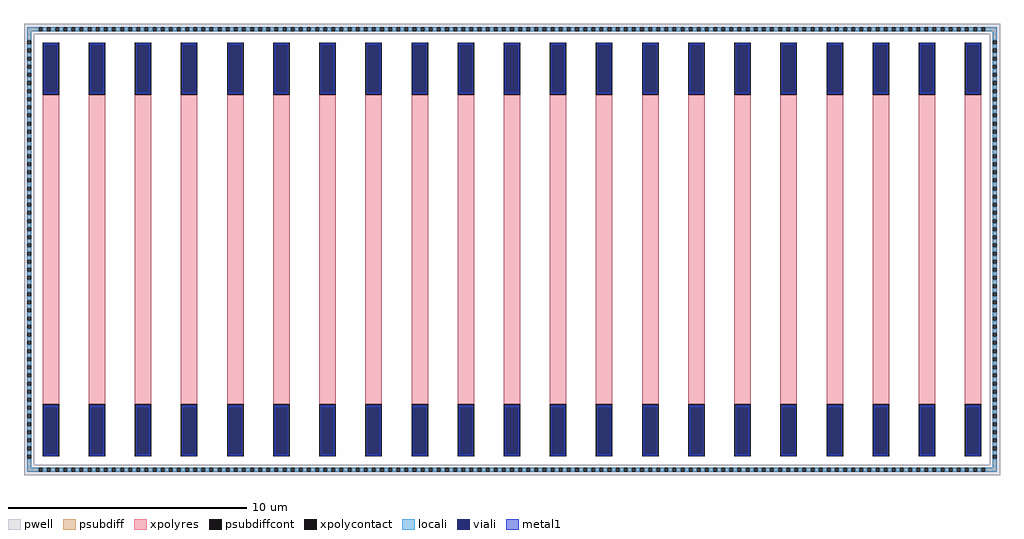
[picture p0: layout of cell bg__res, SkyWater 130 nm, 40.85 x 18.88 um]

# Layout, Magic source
magic
tech sky130A
magscale 1 2
<< pwell >>
rect -4085 1802 4085 1888
rect -4085 -1802 -3999 1802
rect 3999 -1802 4085 1802
rect -4085 -1888 4085 -1802
<< psubdiff >>
rect -4059 1828 -3961 1862
rect -3927 1828 -3893 1862
rect -3859 1828 -3825 1862
rect -3791 1828 -3757 1862
rect -3723 1828 -3689 1862
rect -3655 1828 -3621 1862
rect -3587 1828 -3553 1862
rect -3519 1828 -3485 1862
rect -3451 1828 -3417 1862
rect -3383 1828 -3349 1862
rect -3315 1828 -3281 1862
rect -3247 1828 -3213 1862
rect -3179 1828 -3145 1862
rect -3111 1828 -3077 1862
rect -3043 1828 -3009 1862
rect -2975 1828 -2941 1862
rect -2907 1828 -2873 1862
rect -2839 1828 -2805 1862
rect -2771 1828 -2737 1862
rect -2703 1828 -2669 1862
rect -2635 1828 -2601 1862
rect -2567 1828 -2533 1862
rect -2499 1828 -2465 1862
rect -2431 1828 -2397 1862
rect -2363 1828 -2329 1862
rect -2295 1828 -2261 1862
rect -2227 1828 -2193 1862
rect -2159 1828 -2125 1862
rect -2091 1828 -2057 1862
rect -2023 1828 -1989 1862
rect -1955 1828 -1921 1862
rect -1887 1828 -1853 1862
rect -1819 1828 -1785 1862
rect -1751 1828 -1717 1862
rect -1683 1828 -1649 1862
rect -1615 1828 -1581 1862
rect -1547 1828 -1513 1862
rect -1479 1828 -1445 1862
rect -1411 1828 -1377 1862
rect -1343 1828 -1309 1862
rect -1275 1828 -1241 1862
rect -1207 1828 -1173 1862
rect -1139 1828 -1105 1862
rect -1071 1828 -1037 1862
rect -1003 1828 -969 1862
rect -935 1828 -901 1862
rect -867 1828 -833 1862
rect -799 1828 -765 1862
rect -731 1828 -697 1862
rect -663 1828 -629 1862
rect -595 1828 -561 1862
rect -527 1828 -493 1862
rect -459 1828 -425 1862
rect -391 1828 -357 1862
rect -323 1828 -289 1862
rect -255 1828 -221 1862
rect -187 1828 -153 1862
rect -119 1828 -85 1862
rect -51 1828 -17 1862
rect 17 1828 51 1862
rect 85 1828 119 1862
rect 153 1828 187 1862
rect 221 1828 255 1862
rect 289 1828 323 1862
rect 357 1828 391 1862
rect 425 1828 459 1862
rect 493 1828 527 1862
rect 561 1828 595 1862
rect 629 1828 663 1862
rect 697 1828 731 1862
rect 765 1828 799 1862
rect 833 1828 867 1862
rect 901 1828 935 1862
rect 969 1828 1003 1862
rect 1037 1828 1071 1862
rect 1105 1828 1139 1862
rect 1173 1828 1207 1862
rect 1241 1828 1275 1862
rect 1309 1828 1343 1862
rect 1377 1828 1411 1862
rect 1445 1828 1479 1862
rect 1513 1828 1547 1862
rect 1581 1828 1615 1862
rect 1649 1828 1683 1862
rect 1717 1828 1751 1862
rect 1785 1828 1819 1862
rect 1853 1828 1887 1862
rect 1921 1828 1955 1862
rect 1989 1828 2023 1862
rect 2057 1828 2091 1862
rect 2125 1828 2159 1862
rect 2193 1828 2227 1862
rect 2261 1828 2295 1862
rect 2329 1828 2363 1862
rect 2397 1828 2431 1862
rect 2465 1828 2499 1862
rect 2533 1828 2567 1862
rect 2601 1828 2635 1862
rect 2669 1828 2703 1862
rect 2737 1828 2771 1862
rect 2805 1828 2839 1862
rect 2873 1828 2907 1862
rect 2941 1828 2975 1862
rect 3009 1828 3043 1862
rect 3077 1828 3111 1862
rect 3145 1828 3179 1862
rect 3213 1828 3247 1862
rect 3281 1828 3315 1862
rect 3349 1828 3383 1862
rect 3417 1828 3451 1862
rect 3485 1828 3519 1862
rect 3553 1828 3587 1862
rect 3621 1828 3655 1862
rect 3689 1828 3723 1862
rect 3757 1828 3791 1862
rect 3825 1828 3859 1862
rect 3893 1828 3927 1862
rect 3961 1828 4059 1862
rect -4059 1751 -4025 1828
rect 4025 1751 4059 1828
rect -4059 1683 -4025 1717
rect -4059 1615 -4025 1649
rect -4059 1547 -4025 1581
rect -4059 1479 -4025 1513
rect -4059 1411 -4025 1445
rect -4059 1343 -4025 1377
rect -4059 1275 -4025 1309
rect -4059 1207 -4025 1241
rect -4059 1139 -4025 1173
rect -4059 1071 -4025 1105
rect -4059 1003 -4025 1037
rect -4059 935 -4025 969
rect -4059 867 -4025 901
rect -4059 799 -4025 833
rect -4059 731 -4025 765
rect -4059 663 -4025 697
rect -4059 595 -4025 629
rect -4059 527 -4025 561
rect -4059 459 -4025 493
rect -4059 391 -4025 425
rect -4059 323 -4025 357
rect -4059 255 -4025 289
rect -4059 187 -4025 221
rect -4059 119 -4025 153
rect -4059 51 -4025 85
rect -4059 -17 -4025 17
rect -4059 -85 -4025 -51
rect -4059 -153 -4025 -119
rect -4059 -221 -4025 -187
rect -4059 -289 -4025 -255
rect -4059 -357 -4025 -323
rect -4059 -425 -4025 -391
rect -4059 -493 -4025 -459
rect -4059 -561 -4025 -527
rect -4059 -629 -4025 -595
rect -4059 -697 -4025 -663
rect -4059 -765 -4025 -731
rect -4059 -833 -4025 -799
rect -4059 -901 -4025 -867
rect -4059 -969 -4025 -935
rect -4059 -1037 -4025 -1003
rect -4059 -1105 -4025 -1071
rect -4059 -1173 -4025 -1139
rect -4059 -1241 -4025 -1207
rect -4059 -1309 -4025 -1275
rect -4059 -1377 -4025 -1343
rect -4059 -1445 -4025 -1411
rect -4059 -1513 -4025 -1479
rect -4059 -1581 -4025 -1547
rect -4059 -1649 -4025 -1615
rect -4059 -1717 -4025 -1683
rect 4025 1683 4059 1717
rect 4025 1615 4059 1649
rect 4025 1547 4059 1581
rect 4025 1479 4059 1513
rect 4025 1411 4059 1445
rect 4025 1343 4059 1377
rect 4025 1275 4059 1309
rect 4025 1207 4059 1241
rect 4025 1139 4059 1173
rect 4025 1071 4059 1105
rect 4025 1003 4059 1037
rect 4025 935 4059 969
rect 4025 867 4059 901
rect 4025 799 4059 833
rect 4025 731 4059 765
rect 4025 663 4059 697
rect 4025 595 4059 629
rect 4025 527 4059 561
rect 4025 459 4059 493
rect 4025 391 4059 425
rect 4025 323 4059 357
rect 4025 255 4059 289
rect 4025 187 4059 221
rect 4025 119 4059 153
rect 4025 51 4059 85
rect 4025 -17 4059 17
rect 4025 -85 4059 -51
rect 4025 -153 4059 -119
rect 4025 -221 4059 -187
rect 4025 -289 4059 -255
rect 4025 -357 4059 -323
rect 4025 -425 4059 -391
rect 4025 -493 4059 -459
rect 4025 -561 4059 -527
rect 4025 -629 4059 -595
rect 4025 -697 4059 -663
rect 4025 -765 4059 -731
rect 4025 -833 4059 -799
rect 4025 -901 4059 -867
rect 4025 -969 4059 -935
rect 4025 -1037 4059 -1003
rect 4025 -1105 4059 -1071
rect 4025 -1173 4059 -1139
rect 4025 -1241 4059 -1207
rect 4025 -1309 4059 -1275
rect 4025 -1377 4059 -1343
rect 4025 -1445 4059 -1411
rect 4025 -1513 4059 -1479
rect 4025 -1581 4059 -1547
rect 4025 -1649 4059 -1615
rect 4025 -1717 4059 -1683
rect -4059 -1828 -4025 -1751
rect 4025 -1828 4059 -1751
rect -4059 -1862 -3961 -1828
rect -3927 -1862 -3893 -1828
rect -3859 -1862 -3825 -1828
rect -3791 -1862 -3757 -1828
rect -3723 -1862 -3689 -1828
rect -3655 -1862 -3621 -1828
rect -3587 -1862 -3553 -1828
rect -3519 -1862 -3485 -1828
rect -3451 -1862 -3417 -1828
rect -3383 -1862 -3349 -1828
rect -3315 -1862 -3281 -1828
rect -3247 -1862 -3213 -1828
rect -3179 -1862 -3145 -1828
rect -3111 -1862 -3077 -1828
rect -3043 -1862 -3009 -1828
rect -2975 -1862 -2941 -1828
rect -2907 -1862 -2873 -1828
rect -2839 -1862 -2805 -1828
rect -2771 -1862 -2737 -1828
rect -2703 -1862 -2669 -1828
rect -2635 -1862 -2601 -1828
rect -2567 -1862 -2533 -1828
rect -2499 -1862 -2465 -1828
rect -2431 -1862 -2397 -1828
rect -2363 -1862 -2329 -1828
rect -2295 -1862 -2261 -1828
rect -2227 -1862 -2193 -1828
rect -2159 -1862 -2125 -1828
rect -2091 -1862 -2057 -1828
rect -2023 -1862 -1989 -1828
rect -1955 -1862 -1921 -1828
rect -1887 -1862 -1853 -1828
rect -1819 -1862 -1785 -1828
rect -1751 -1862 -1717 -1828
rect -1683 -1862 -1649 -1828
rect -1615 -1862 -1581 -1828
rect -1547 -1862 -1513 -1828
rect -1479 -1862 -1445 -1828
rect -1411 -1862 -1377 -1828
rect -1343 -1862 -1309 -1828
rect -1275 -1862 -1241 -1828
rect -1207 -1862 -1173 -1828
rect -1139 -1862 -1105 -1828
rect -1071 -1862 -1037 -1828
rect -1003 -1862 -969 -1828
rect -935 -1862 -901 -1828
rect -867 -1862 -833 -1828
rect -799 -1862 -765 -1828
rect -731 -1862 -697 -1828
rect -663 -1862 -629 -1828
rect -595 -1862 -561 -1828
rect -527 -1862 -493 -1828
rect -459 -1862 -425 -1828
rect -391 -1862 -357 -1828
rect -323 -1862 -289 -1828
rect -255 -1862 -221 -1828
rect -187 -1862 -153 -1828
rect -119 -1862 -85 -1828
rect -51 -1862 -17 -1828
rect 17 -1862 51 -1828
rect 85 -1862 119 -1828
rect 153 -1862 187 -1828
rect 221 -1862 255 -1828
rect 289 -1862 323 -1828
rect 357 -1862 391 -1828
rect 425 -1862 459 -1828
rect 493 -1862 527 -1828
rect 561 -1862 595 -1828
rect 629 -1862 663 -1828
rect 697 -1862 731 -1828
rect 765 -1862 799 -1828
rect 833 -1862 867 -1828
rect 901 -1862 935 -1828
rect 969 -1862 1003 -1828
rect 1037 -1862 1071 -1828
rect 1105 -1862 1139 -1828
rect 1173 -1862 1207 -1828
rect 1241 -1862 1275 -1828
rect 1309 -1862 1343 -1828
rect 1377 -1862 1411 -1828
rect 1445 -1862 1479 -1828
rect 1513 -1862 1547 -1828
rect 1581 -1862 1615 -1828
rect 1649 -1862 1683 -1828
rect 1717 -1862 1751 -1828
rect 1785 -1862 1819 -1828
rect 1853 -1862 1887 -1828
rect 1921 -1862 1955 -1828
rect 1989 -1862 2023 -1828
rect 2057 -1862 2091 -1828
rect 2125 -1862 2159 -1828
rect 2193 -1862 2227 -1828
rect 2261 -1862 2295 -1828
rect 2329 -1862 2363 -1828
rect 2397 -1862 2431 -1828
rect 2465 -1862 2499 -1828
rect 2533 -1862 2567 -1828
rect 2601 -1862 2635 -1828
rect 2669 -1862 2703 -1828
rect 2737 -1862 2771 -1828
rect 2805 -1862 2839 -1828
rect 2873 -1862 2907 -1828
rect 2941 -1862 2975 -1828
rect 3009 -1862 3043 -1828
rect 3077 -1862 3111 -1828
rect 3145 -1862 3179 -1828
rect 3213 -1862 3247 -1828
rect 3281 -1862 3315 -1828
rect 3349 -1862 3383 -1828
rect 3417 -1862 3451 -1828
rect 3485 -1862 3519 -1828
rect 3553 -1862 3587 -1828
rect 3621 -1862 3655 -1828
rect 3689 -1862 3723 -1828
rect 3757 -1862 3791 -1828
rect 3825 -1862 3859 -1828
rect 3893 -1862 3927 -1828
rect 3961 -1862 4059 -1828
<< psubdiffcont >>
rect -3961 1828 -3927 1862
rect -3893 1828 -3859 1862
rect -3825 1828 -3791 1862
rect -3757 1828 -3723 1862
rect -3689 1828 -3655 1862
rect -3621 1828 -3587 1862
rect -3553 1828 -3519 1862
rect -3485 1828 -3451 1862
rect -3417 1828 -3383 1862
rect -3349 1828 -3315 1862
rect -3281 1828 -3247 1862
rect -3213 1828 -3179 1862
rect -3145 1828 -3111 1862
rect -3077 1828 -3043 1862
rect -3009 1828 -2975 1862
rect -2941 1828 -2907 1862
rect -2873 1828 -2839 1862
rect -2805 1828 -2771 1862
rect -2737 1828 -2703 1862
rect -2669 1828 -2635 1862
rect -2601 1828 -2567 1862
rect -2533 1828 -2499 1862
rect -2465 1828 -2431 1862
rect -2397 1828 -2363 1862
rect -2329 1828 -2295 1862
rect -2261 1828 -2227 1862
rect -2193 1828 -2159 1862
rect -2125 1828 -2091 1862
rect -2057 1828 -2023 1862
rect -1989 1828 -1955 1862
rect -1921 1828 -1887 1862
rect -1853 1828 -1819 1862
rect -1785 1828 -1751 1862
rect -1717 1828 -1683 1862
rect -1649 1828 -1615 1862
rect -1581 1828 -1547 1862
rect -1513 1828 -1479 1862
rect -1445 1828 -1411 1862
rect -1377 1828 -1343 1862
rect -1309 1828 -1275 1862
rect -1241 1828 -1207 1862
rect -1173 1828 -1139 1862
rect -1105 1828 -1071 1862
rect -1037 1828 -1003 1862
rect -969 1828 -935 1862
rect -901 1828 -867 1862
rect -833 1828 -799 1862
rect -765 1828 -731 1862
rect -697 1828 -663 1862
rect -629 1828 -595 1862
rect -561 1828 -527 1862
rect -493 1828 -459 1862
rect -425 1828 -391 1862
rect -357 1828 -323 1862
rect -289 1828 -255 1862
rect -221 1828 -187 1862
rect -153 1828 -119 1862
rect -85 1828 -51 1862
rect -17 1828 17 1862
rect 51 1828 85 1862
rect 119 1828 153 1862
rect 187 1828 221 1862
rect 255 1828 289 1862
rect 323 1828 357 1862
rect 391 1828 425 1862
rect 459 1828 493 1862
rect 527 1828 561 1862
rect 595 1828 629 1862
rect 663 1828 697 1862
rect 731 1828 765 1862
rect 799 1828 833 1862
rect 867 1828 901 1862
rect 935 1828 969 1862
rect 1003 1828 1037 1862
rect 1071 1828 1105 1862
rect 1139 1828 1173 1862
rect 1207 1828 1241 1862
rect 1275 1828 1309 1862
rect 1343 1828 1377 1862
rect 1411 1828 1445 1862
rect 1479 1828 1513 1862
rect 1547 1828 1581 1862
rect 1615 1828 1649 1862
rect 1683 1828 1717 1862
rect 1751 1828 1785 1862
rect 1819 1828 1853 1862
rect 1887 1828 1921 1862
rect 1955 1828 1989 1862
rect 2023 1828 2057 1862
rect 2091 1828 2125 1862
rect 2159 1828 2193 1862
rect 2227 1828 2261 1862
rect 2295 1828 2329 1862
rect 2363 1828 2397 1862
rect 2431 1828 2465 1862
rect 2499 1828 2533 1862
rect 2567 1828 2601 1862
rect 2635 1828 2669 1862
rect 2703 1828 2737 1862
rect 2771 1828 2805 1862
rect 2839 1828 2873 1862
rect 2907 1828 2941 1862
rect 2975 1828 3009 1862
rect 3043 1828 3077 1862
rect 3111 1828 3145 1862
rect 3179 1828 3213 1862
rect 3247 1828 3281 1862
rect 3315 1828 3349 1862
rect 3383 1828 3417 1862
rect 3451 1828 3485 1862
rect 3519 1828 3553 1862
rect 3587 1828 3621 1862
rect 3655 1828 3689 1862
rect 3723 1828 3757 1862
rect 3791 1828 3825 1862
rect 3859 1828 3893 1862
rect 3927 1828 3961 1862
rect -4059 1717 -4025 1751
rect -4059 1649 -4025 1683
rect -4059 1581 -4025 1615
rect -4059 1513 -4025 1547
rect -4059 1445 -4025 1479
rect -4059 1377 -4025 1411
rect -4059 1309 -4025 1343
rect -4059 1241 -4025 1275
rect -4059 1173 -4025 1207
rect -4059 1105 -4025 1139
rect -4059 1037 -4025 1071
rect -4059 969 -4025 1003
rect -4059 901 -4025 935
rect -4059 833 -4025 867
rect -4059 765 -4025 799
rect -4059 697 -4025 731
rect -4059 629 -4025 663
rect -4059 561 -4025 595
rect -4059 493 -4025 527
rect -4059 425 -4025 459
rect -4059 357 -4025 391
rect -4059 289 -4025 323
rect -4059 221 -4025 255
rect -4059 153 -4025 187
rect -4059 85 -4025 119
rect -4059 17 -4025 51
rect -4059 -51 -4025 -17
rect -4059 -119 -4025 -85
rect -4059 -187 -4025 -153
rect -4059 -255 -4025 -221
rect -4059 -323 -4025 -289
rect -4059 -391 -4025 -357
rect -4059 -459 -4025 -425
rect -4059 -527 -4025 -493
rect -4059 -595 -4025 -561
rect -4059 -663 -4025 -629
rect -4059 -731 -4025 -697
rect -4059 -799 -4025 -765
rect -4059 -867 -4025 -833
rect -4059 -935 -4025 -901
rect -4059 -1003 -4025 -969
rect -4059 -1071 -4025 -1037
rect -4059 -1139 -4025 -1105
rect -4059 -1207 -4025 -1173
rect -4059 -1275 -4025 -1241
rect -4059 -1343 -4025 -1309
rect -4059 -1411 -4025 -1377
rect -4059 -1479 -4025 -1445
rect -4059 -1547 -4025 -1513
rect -4059 -1615 -4025 -1581
rect -4059 -1683 -4025 -1649
rect -4059 -1751 -4025 -1717
rect 4025 1717 4059 1751
rect 4025 1649 4059 1683
rect 4025 1581 4059 1615
rect 4025 1513 4059 1547
rect 4025 1445 4059 1479
rect 4025 1377 4059 1411
rect 4025 1309 4059 1343
rect 4025 1241 4059 1275
rect 4025 1173 4059 1207
rect 4025 1105 4059 1139
rect 4025 1037 4059 1071
rect 4025 969 4059 1003
rect 4025 901 4059 935
rect 4025 833 4059 867
rect 4025 765 4059 799
rect 4025 697 4059 731
rect 4025 629 4059 663
rect 4025 561 4059 595
rect 4025 493 4059 527
rect 4025 425 4059 459
rect 4025 357 4059 391
rect 4025 289 4059 323
rect 4025 221 4059 255
rect 4025 153 4059 187
rect 4025 85 4059 119
rect 4025 17 4059 51
rect 4025 -51 4059 -17
rect 4025 -119 4059 -85
rect 4025 -187 4059 -153
rect 4025 -255 4059 -221
rect 4025 -323 4059 -289
rect 4025 -391 4059 -357
rect 4025 -459 4059 -425
rect 4025 -527 4059 -493
rect 4025 -595 4059 -561
rect 4025 -663 4059 -629
rect 4025 -731 4059 -697
rect 4025 -799 4059 -765
rect 4025 -867 4059 -833
rect 4025 -935 4059 -901
rect 4025 -1003 4059 -969
rect 4025 -1071 4059 -1037
rect 4025 -1139 4059 -1105
rect 4025 -1207 4059 -1173
rect 4025 -1275 4059 -1241
rect 4025 -1343 4059 -1309
rect 4025 -1411 4059 -1377
rect 4025 -1479 4059 -1445
rect 4025 -1547 4059 -1513
rect 4025 -1615 4059 -1581
rect 4025 -1683 4059 -1649
rect 4025 -1751 4059 -1717
rect -3961 -1862 -3927 -1828
rect -3893 -1862 -3859 -1828
rect -3825 -1862 -3791 -1828
rect -3757 -1862 -3723 -1828
rect -3689 -1862 -3655 -1828
rect -3621 -1862 -3587 -1828
rect -3553 -1862 -3519 -1828
rect -3485 -1862 -3451 -1828
rect -3417 -1862 -3383 -1828
rect -3349 -1862 -3315 -1828
rect -3281 -1862 -3247 -1828
rect -3213 -1862 -3179 -1828
rect -3145 -1862 -3111 -1828
rect -3077 -1862 -3043 -1828
rect -3009 -1862 -2975 -1828
rect -2941 -1862 -2907 -1828
rect -2873 -1862 -2839 -1828
rect -2805 -1862 -2771 -1828
rect -2737 -1862 -2703 -1828
rect -2669 -1862 -2635 -1828
rect -2601 -1862 -2567 -1828
rect -2533 -1862 -2499 -1828
rect -2465 -1862 -2431 -1828
rect -2397 -1862 -2363 -1828
rect -2329 -1862 -2295 -1828
rect -2261 -1862 -2227 -1828
rect -2193 -1862 -2159 -1828
rect -2125 -1862 -2091 -1828
rect -2057 -1862 -2023 -1828
rect -1989 -1862 -1955 -1828
rect -1921 -1862 -1887 -1828
rect -1853 -1862 -1819 -1828
rect -1785 -1862 -1751 -1828
rect -1717 -1862 -1683 -1828
rect -1649 -1862 -1615 -1828
rect -1581 -1862 -1547 -1828
rect -1513 -1862 -1479 -1828
rect -1445 -1862 -1411 -1828
rect -1377 -1862 -1343 -1828
rect -1309 -1862 -1275 -1828
rect -1241 -1862 -1207 -1828
rect -1173 -1862 -1139 -1828
rect -1105 -1862 -1071 -1828
rect -1037 -1862 -1003 -1828
rect -969 -1862 -935 -1828
rect -901 -1862 -867 -1828
rect -833 -1862 -799 -1828
rect -765 -1862 -731 -1828
rect -697 -1862 -663 -1828
rect -629 -1862 -595 -1828
rect -561 -1862 -527 -1828
rect -493 -1862 -459 -1828
rect -425 -1862 -391 -1828
rect -357 -1862 -323 -1828
rect -289 -1862 -255 -1828
rect -221 -1862 -187 -1828
rect -153 -1862 -119 -1828
rect -85 -1862 -51 -1828
rect -17 -1862 17 -1828
rect 51 -1862 85 -1828
rect 119 -1862 153 -1828
rect 187 -1862 221 -1828
rect 255 -1862 289 -1828
rect 323 -1862 357 -1828
rect 391 -1862 425 -1828
rect 459 -1862 493 -1828
rect 527 -1862 561 -1828
rect 595 -1862 629 -1828
rect 663 -1862 697 -1828
rect 731 -1862 765 -1828
rect 799 -1862 833 -1828
rect 867 -1862 901 -1828
rect 935 -1862 969 -1828
rect 1003 -1862 1037 -1828
rect 1071 -1862 1105 -1828
rect 1139 -1862 1173 -1828
rect 1207 -1862 1241 -1828
rect 1275 -1862 1309 -1828
rect 1343 -1862 1377 -1828
rect 1411 -1862 1445 -1828
rect 1479 -1862 1513 -1828
rect 1547 -1862 1581 -1828
rect 1615 -1862 1649 -1828
rect 1683 -1862 1717 -1828
rect 1751 -1862 1785 -1828
rect 1819 -1862 1853 -1828
rect 1887 -1862 1921 -1828
rect 1955 -1862 1989 -1828
rect 2023 -1862 2057 -1828
rect 2091 -1862 2125 -1828
rect 2159 -1862 2193 -1828
rect 2227 -1862 2261 -1828
rect 2295 -1862 2329 -1828
rect 2363 -1862 2397 -1828
rect 2431 -1862 2465 -1828
rect 2499 -1862 2533 -1828
rect 2567 -1862 2601 -1828
rect 2635 -1862 2669 -1828
rect 2703 -1862 2737 -1828
rect 2771 -1862 2805 -1828
rect 2839 -1862 2873 -1828
rect 2907 -1862 2941 -1828
rect 2975 -1862 3009 -1828
rect 3043 -1862 3077 -1828
rect 3111 -1862 3145 -1828
rect 3179 -1862 3213 -1828
rect 3247 -1862 3281 -1828
rect 3315 -1862 3349 -1828
rect 3383 -1862 3417 -1828
rect 3451 -1862 3485 -1828
rect 3519 -1862 3553 -1828
rect 3587 -1862 3621 -1828
rect 3655 -1862 3689 -1828
rect 3723 -1862 3757 -1828
rect 3791 -1862 3825 -1828
rect 3859 -1862 3893 -1828
rect 3927 -1862 3961 -1828
<< xpolycontact >>
rect -3929 1296 -3791 1732
rect -3929 -1732 -3791 -1296
rect -3543 1296 -3405 1732
rect -3543 -1732 -3405 -1296
rect -3157 1296 -3019 1732
rect -3157 -1732 -3019 -1296
rect -2771 1296 -2633 1732
rect -2771 -1732 -2633 -1296
rect -2385 1296 -2247 1732
rect -2385 -1732 -2247 -1296
rect -1999 1296 -1861 1732
rect -1999 -1732 -1861 -1296
rect -1613 1296 -1475 1732
rect -1613 -1732 -1475 -1296
rect -1227 1296 -1089 1732
rect -1227 -1732 -1089 -1296
rect -841 1296 -703 1732
rect -841 -1732 -703 -1296
rect -455 1296 -317 1732
rect -455 -1732 -317 -1296
rect -69 1296 69 1732
rect -69 -1732 69 -1296
rect 317 1296 455 1732
rect 317 -1732 455 -1296
rect 703 1296 841 1732
rect 703 -1732 841 -1296
rect 1089 1296 1227 1732
rect 1089 -1732 1227 -1296
rect 1475 1296 1613 1732
rect 1475 -1732 1613 -1296
rect 1861 1296 1999 1732
rect 1861 -1732 1999 -1296
rect 2247 1296 2385 1732
rect 2247 -1732 2385 -1296
rect 2633 1296 2771 1732
rect 2633 -1732 2771 -1296
rect 3019 1296 3157 1732
rect 3019 -1732 3157 -1296
rect 3405 1296 3543 1732
rect 3405 -1732 3543 -1296
rect 3791 1296 3929 1732
rect 3791 -1732 3929 -1296
<< xpolyres >>
rect -3929 -1296 -3791 1296
rect -3543 -1296 -3405 1296
rect -3157 -1296 -3019 1296
rect -2771 -1296 -2633 1296
rect -2385 -1296 -2247 1296
rect -1999 -1296 -1861 1296
rect -1613 -1296 -1475 1296
rect -1227 -1296 -1089 1296
rect -841 -1296 -703 1296
rect -455 -1296 -317 1296
rect -69 -1296 69 1296
rect 317 -1296 455 1296
rect 703 -1296 841 1296
rect 1089 -1296 1227 1296
rect 1475 -1296 1613 1296
rect 1861 -1296 1999 1296
rect 2247 -1296 2385 1296
rect 2633 -1296 2771 1296
rect 3019 -1296 3157 1296
rect 3405 -1296 3543 1296
rect 3791 -1296 3929 1296
<< locali >>
rect -4059 1828 -3961 1862
rect -3927 1828 -3893 1862
rect -3859 1828 -3825 1862
rect -3791 1828 -3757 1862
rect -3723 1828 -3689 1862
rect -3655 1828 -3621 1862
rect -3587 1828 -3553 1862
rect -3519 1828 -3485 1862
rect -3451 1828 -3417 1862
rect -3383 1828 -3349 1862
rect -3315 1828 -3281 1862
rect -3247 1828 -3213 1862
rect -3179 1828 -3145 1862
rect -3111 1828 -3077 1862
rect -3043 1828 -3009 1862
rect -2975 1828 -2941 1862
rect -2907 1828 -2873 1862
rect -2839 1828 -2805 1862
rect -2771 1828 -2737 1862
rect -2703 1828 -2669 1862
rect -2635 1828 -2601 1862
rect -2567 1828 -2533 1862
rect -2499 1828 -2465 1862
rect -2431 1828 -2397 1862
rect -2363 1828 -2329 1862
rect -2295 1828 -2261 1862
rect -2227 1828 -2193 1862
rect -2159 1828 -2125 1862
rect -2091 1828 -2057 1862
rect -2023 1828 -1989 1862
rect -1955 1828 -1921 1862
rect -1887 1828 -1853 1862
rect -1819 1828 -1785 1862
rect -1751 1828 -1717 1862
rect -1683 1828 -1649 1862
rect -1615 1828 -1581 1862
rect -1547 1828 -1513 1862
rect -1479 1828 -1445 1862
rect -1411 1828 -1377 1862
rect -1343 1828 -1309 1862
rect -1275 1828 -1241 1862
rect -1207 1828 -1173 1862
rect -1139 1828 -1105 1862
rect -1071 1828 -1037 1862
rect -1003 1828 -969 1862
rect -935 1828 -901 1862
rect -867 1828 -833 1862
rect -799 1828 -765 1862
rect -731 1828 -697 1862
rect -663 1828 -629 1862
rect -595 1828 -561 1862
rect -527 1828 -493 1862
rect -459 1828 -425 1862
rect -391 1828 -357 1862
rect -323 1828 -289 1862
rect -255 1828 -221 1862
rect -187 1828 -153 1862
rect -119 1828 -85 1862
rect -51 1828 -17 1862
rect 17 1828 51 1862
rect 85 1828 119 1862
rect 153 1828 187 1862
rect 221 1828 255 1862
rect 289 1828 323 1862
rect 357 1828 391 1862
rect 425 1828 459 1862
rect 493 1828 527 1862
rect 561 1828 595 1862
rect 629 1828 663 1862
rect 697 1828 731 1862
rect 765 1828 799 1862
rect 833 1828 867 1862
rect 901 1828 935 1862
rect 969 1828 1003 1862
rect 1037 1828 1071 1862
rect 1105 1828 1139 1862
rect 1173 1828 1207 1862
rect 1241 1828 1275 1862
rect 1309 1828 1343 1862
rect 1377 1828 1411 1862
rect 1445 1828 1479 1862
rect 1513 1828 1547 1862
rect 1581 1828 1615 1862
rect 1649 1828 1683 1862
rect 1717 1828 1751 1862
rect 1785 1828 1819 1862
rect 1853 1828 1887 1862
rect 1921 1828 1955 1862
rect 1989 1828 2023 1862
rect 2057 1828 2091 1862
rect 2125 1828 2159 1862
rect 2193 1828 2227 1862
rect 2261 1828 2295 1862
rect 2329 1828 2363 1862
rect 2397 1828 2431 1862
rect 2465 1828 2499 1862
rect 2533 1828 2567 1862
rect 2601 1828 2635 1862
rect 2669 1828 2703 1862
rect 2737 1828 2771 1862
rect 2805 1828 2839 1862
rect 2873 1828 2907 1862
rect 2941 1828 2975 1862
rect 3009 1828 3043 1862
rect 3077 1828 3111 1862
rect 3145 1828 3179 1862
rect 3213 1828 3247 1862
rect 3281 1828 3315 1862
rect 3349 1828 3383 1862
rect 3417 1828 3451 1862
rect 3485 1828 3519 1862
rect 3553 1828 3587 1862
rect 3621 1828 3655 1862
rect 3689 1828 3723 1862
rect 3757 1828 3791 1862
rect 3825 1828 3859 1862
rect 3893 1828 3927 1862
rect 3961 1828 4059 1862
rect -4059 1751 -4025 1828
rect 4025 1751 4059 1828
rect -4059 1683 -4025 1717
rect -4059 1615 -4025 1649
rect -4059 1547 -4025 1581
rect -4059 1479 -4025 1513
rect -4059 1411 -4025 1445
rect -4059 1343 -4025 1377
rect -4059 1275 -4025 1309
rect 4025 1683 4059 1717
rect 4025 1615 4059 1649
rect 4025 1547 4059 1581
rect 4025 1479 4059 1513
rect 4025 1411 4059 1445
rect 4025 1343 4059 1377
rect -4059 1207 -4025 1241
rect -4059 1139 -4025 1173
rect -4059 1071 -4025 1105
rect -4059 1003 -4025 1037
rect -4059 935 -4025 969
rect -4059 867 -4025 901
rect -4059 799 -4025 833
rect -4059 731 -4025 765
rect -4059 663 -4025 697
rect -4059 595 -4025 629
rect -4059 527 -4025 561
rect -4059 459 -4025 493
rect -4059 391 -4025 425
rect -4059 323 -4025 357
rect -4059 255 -4025 289
rect -4059 187 -4025 221
rect -4059 119 -4025 153
rect -4059 51 -4025 85
rect -4059 -17 -4025 17
rect -4059 -85 -4025 -51
rect -4059 -153 -4025 -119
rect -4059 -221 -4025 -187
rect -4059 -289 -4025 -255
rect -4059 -357 -4025 -323
rect -4059 -425 -4025 -391
rect -4059 -493 -4025 -459
rect -4059 -561 -4025 -527
rect -4059 -629 -4025 -595
rect -4059 -697 -4025 -663
rect -4059 -765 -4025 -731
rect -4059 -833 -4025 -799
rect -4059 -901 -4025 -867
rect -4059 -969 -4025 -935
rect -4059 -1037 -4025 -1003
rect -4059 -1105 -4025 -1071
rect -4059 -1173 -4025 -1139
rect -4059 -1241 -4025 -1207
rect -4059 -1309 -4025 -1275
rect 4025 1275 4059 1309
rect 4025 1207 4059 1241
rect 4025 1139 4059 1173
rect 4025 1071 4059 1105
rect 4025 1003 4059 1037
rect 4025 935 4059 969
rect 4025 867 4059 901
rect 4025 799 4059 833
rect 4025 731 4059 765
rect 4025 663 4059 697
rect 4025 595 4059 629
rect 4025 527 4059 561
rect 4025 459 4059 493
rect 4025 391 4059 425
rect 4025 323 4059 357
rect 4025 255 4059 289
rect 4025 187 4059 221
rect 4025 119 4059 153
rect 4025 51 4059 85
rect 4025 -17 4059 17
rect 4025 -85 4059 -51
rect 4025 -153 4059 -119
rect 4025 -221 4059 -187
rect 4025 -289 4059 -255
rect 4025 -357 4059 -323
rect 4025 -425 4059 -391
rect 4025 -493 4059 -459
rect 4025 -561 4059 -527
rect 4025 -629 4059 -595
rect 4025 -697 4059 -663
rect 4025 -765 4059 -731
rect 4025 -833 4059 -799
rect 4025 -901 4059 -867
rect 4025 -969 4059 -935
rect 4025 -1037 4059 -1003
rect 4025 -1105 4059 -1071
rect 4025 -1173 4059 -1139
rect 4025 -1241 4059 -1207
rect -4059 -1377 -4025 -1343
rect -4059 -1445 -4025 -1411
rect -4059 -1513 -4025 -1479
rect -4059 -1581 -4025 -1547
rect -4059 -1649 -4025 -1615
rect -4059 -1717 -4025 -1683
rect 4025 -1309 4059 -1275
rect 4025 -1377 4059 -1343
rect 4025 -1445 4059 -1411
rect 4025 -1513 4059 -1479
rect 4025 -1581 4059 -1547
rect 4025 -1649 4059 -1615
rect 4025 -1717 4059 -1683
rect -4059 -1828 -4025 -1751
rect 4025 -1828 4059 -1751
rect -4059 -1862 -3961 -1828
rect -3927 -1862 -3893 -1828
rect -3859 -1862 -3825 -1828
rect -3791 -1862 -3757 -1828
rect -3723 -1862 -3689 -1828
rect -3655 -1862 -3621 -1828
rect -3587 -1862 -3553 -1828
rect -3519 -1862 -3485 -1828
rect -3451 -1862 -3417 -1828
rect -3383 -1862 -3349 -1828
rect -3315 -1862 -3281 -1828
rect -3247 -1862 -3213 -1828
rect -3179 -1862 -3145 -1828
rect -3111 -1862 -3077 -1828
rect -3043 -1862 -3009 -1828
rect -2975 -1862 -2941 -1828
rect -2907 -1862 -2873 -1828
rect -2839 -1862 -2805 -1828
rect -2771 -1862 -2737 -1828
rect -2703 -1862 -2669 -1828
rect -2635 -1862 -2601 -1828
rect -2567 -1862 -2533 -1828
rect -2499 -1862 -2465 -1828
rect -2431 -1862 -2397 -1828
rect -2363 -1862 -2329 -1828
rect -2295 -1862 -2261 -1828
rect -2227 -1862 -2193 -1828
rect -2159 -1862 -2125 -1828
rect -2091 -1862 -2057 -1828
rect -2023 -1862 -1989 -1828
rect -1955 -1862 -1921 -1828
rect -1887 -1862 -1853 -1828
rect -1819 -1862 -1785 -1828
rect -1751 -1862 -1717 -1828
rect -1683 -1862 -1649 -1828
rect -1615 -1862 -1581 -1828
rect -1547 -1862 -1513 -1828
rect -1479 -1862 -1445 -1828
rect -1411 -1862 -1377 -1828
rect -1343 -1862 -1309 -1828
rect -1275 -1862 -1241 -1828
rect -1207 -1862 -1173 -1828
rect -1139 -1862 -1105 -1828
rect -1071 -1862 -1037 -1828
rect -1003 -1862 -969 -1828
rect -935 -1862 -901 -1828
rect -867 -1862 -833 -1828
rect -799 -1862 -765 -1828
rect -731 -1862 -697 -1828
rect -663 -1862 -629 -1828
rect -595 -1862 -561 -1828
rect -527 -1862 -493 -1828
rect -459 -1862 -425 -1828
rect -391 -1862 -357 -1828
rect -323 -1862 -289 -1828
rect -255 -1862 -221 -1828
rect -187 -1862 -153 -1828
rect -119 -1862 -85 -1828
rect -51 -1862 -17 -1828
rect 17 -1862 51 -1828
rect 85 -1862 119 -1828
rect 153 -1862 187 -1828
rect 221 -1862 255 -1828
rect 289 -1862 323 -1828
rect 357 -1862 391 -1828
rect 425 -1862 459 -1828
rect 493 -1862 527 -1828
rect 561 -1862 595 -1828
rect 629 -1862 663 -1828
rect 697 -1862 731 -1828
rect 765 -1862 799 -1828
rect 833 -1862 867 -1828
rect 901 -1862 935 -1828
rect 969 -1862 1003 -1828
rect 1037 -1862 1071 -1828
rect 1105 -1862 1139 -1828
rect 1173 -1862 1207 -1828
rect 1241 -1862 1275 -1828
rect 1309 -1862 1343 -1828
rect 1377 -1862 1411 -1828
rect 1445 -1862 1479 -1828
rect 1513 -1862 1547 -1828
rect 1581 -1862 1615 -1828
rect 1649 -1862 1683 -1828
rect 1717 -1862 1751 -1828
rect 1785 -1862 1819 -1828
rect 1853 -1862 1887 -1828
rect 1921 -1862 1955 -1828
rect 1989 -1862 2023 -1828
rect 2057 -1862 2091 -1828
rect 2125 -1862 2159 -1828
rect 2193 -1862 2227 -1828
rect 2261 -1862 2295 -1828
rect 2329 -1862 2363 -1828
rect 2397 -1862 2431 -1828
rect 2465 -1862 2499 -1828
rect 2533 -1862 2567 -1828
rect 2601 -1862 2635 -1828
rect 2669 -1862 2703 -1828
rect 2737 -1862 2771 -1828
rect 2805 -1862 2839 -1828
rect 2873 -1862 2907 -1828
rect 2941 -1862 2975 -1828
rect 3009 -1862 3043 -1828
rect 3077 -1862 3111 -1828
rect 3145 -1862 3179 -1828
rect 3213 -1862 3247 -1828
rect 3281 -1862 3315 -1828
rect 3349 -1862 3383 -1828
rect 3417 -1862 3451 -1828
rect 3485 -1862 3519 -1828
rect 3553 -1862 3587 -1828
rect 3621 -1862 3655 -1828
rect 3689 -1862 3723 -1828
rect 3757 -1862 3791 -1828
rect 3825 -1862 3859 -1828
rect 3893 -1862 3927 -1828
rect 3961 -1862 4059 -1828
<< viali >>
rect -3913 1318 -3807 1712
rect -3527 1318 -3421 1712
rect -3141 1318 -3035 1712
rect -2755 1318 -2649 1712
rect -2369 1318 -2263 1712
rect -1983 1318 -1877 1712
rect -1597 1318 -1491 1712
rect -1211 1318 -1105 1712
rect -825 1318 -719 1712
rect -439 1318 -333 1712
rect -53 1318 53 1712
rect 333 1318 439 1712
rect 719 1318 825 1712
rect 1105 1318 1211 1712
rect 1491 1318 1597 1712
rect 1877 1318 1983 1712
rect 2263 1318 2369 1712
rect 2649 1318 2755 1712
rect 3035 1318 3141 1712
rect 3421 1318 3527 1712
rect 3807 1318 3913 1712
rect -3913 -1713 -3807 -1319
rect -3527 -1713 -3421 -1319
rect -3141 -1713 -3035 -1319
rect -2755 -1713 -2649 -1319
rect -2369 -1713 -2263 -1319
rect -1983 -1713 -1877 -1319
rect -1597 -1713 -1491 -1319
rect -1211 -1713 -1105 -1319
rect -825 -1713 -719 -1319
rect -439 -1713 -333 -1319
rect -53 -1713 53 -1319
rect 333 -1713 439 -1319
rect 719 -1713 825 -1319
rect 1105 -1713 1211 -1319
rect 1491 -1713 1597 -1319
rect 1877 -1713 1983 -1319
rect 2263 -1713 2369 -1319
rect 2649 -1713 2755 -1319
rect 3035 -1713 3141 -1319
rect 3421 -1713 3527 -1319
rect 3807 -1713 3913 -1319
<< metal1 >>
rect -3919 1712 -3801 1726
rect -3919 1318 -3913 1712
rect -3807 1318 -3801 1712
rect -3919 1305 -3801 1318
rect -3533 1712 -3415 1726
rect -3533 1318 -3527 1712
rect -3421 1318 -3415 1712
rect -3533 1305 -3415 1318
rect -3147 1712 -3029 1726
rect -3147 1318 -3141 1712
rect -3035 1318 -3029 1712
rect -3147 1305 -3029 1318
rect -2761 1712 -2643 1726
rect -2761 1318 -2755 1712
rect -2649 1318 -2643 1712
rect -2761 1305 -2643 1318
rect -2375 1712 -2257 1726
rect -2375 1318 -2369 1712
rect -2263 1318 -2257 1712
rect -2375 1305 -2257 1318
rect -1989 1712 -1871 1726
rect -1989 1318 -1983 1712
rect -1877 1318 -1871 1712
rect -1989 1305 -1871 1318
rect -1603 1712 -1485 1726
rect -1603 1318 -1597 1712
rect -1491 1318 -1485 1712
rect -1603 1305 -1485 1318
rect -1217 1712 -1099 1726
rect -1217 1318 -1211 1712
rect -1105 1318 -1099 1712
rect -1217 1305 -1099 1318
rect -831 1712 -713 1726
rect -831 1318 -825 1712
rect -719 1318 -713 1712
rect -831 1305 -713 1318
rect -445 1712 -327 1726
rect -445 1318 -439 1712
rect -333 1318 -327 1712
rect -445 1305 -327 1318
rect -59 1712 59 1726
rect -59 1318 -53 1712
rect 53 1318 59 1712
rect -59 1305 59 1318
rect 327 1712 445 1726
rect 327 1318 333 1712
rect 439 1318 445 1712
rect 327 1305 445 1318
rect 713 1712 831 1726
rect 713 1318 719 1712
rect 825 1318 831 1712
rect 713 1305 831 1318
rect 1099 1712 1217 1726
rect 1099 1318 1105 1712
rect 1211 1318 1217 1712
rect 1099 1305 1217 1318
rect 1485 1712 1603 1726
rect 1485 1318 1491 1712
rect 1597 1318 1603 1712
rect 1485 1305 1603 1318
rect 1871 1712 1989 1726
rect 1871 1318 1877 1712
rect 1983 1318 1989 1712
rect 1871 1305 1989 1318
rect 2257 1712 2375 1726
rect 2257 1318 2263 1712
rect 2369 1318 2375 1712
rect 2257 1305 2375 1318
rect 2643 1712 2761 1726
rect 2643 1318 2649 1712
rect 2755 1318 2761 1712
rect 2643 1305 2761 1318
rect 3029 1712 3147 1726
rect 3029 1318 3035 1712
rect 3141 1318 3147 1712
rect 3029 1305 3147 1318
rect 3415 1712 3533 1726
rect 3415 1318 3421 1712
rect 3527 1318 3533 1712
rect 3415 1305 3533 1318
rect 3801 1712 3919 1726
rect 3801 1318 3807 1712
rect 3913 1318 3919 1712
rect 3801 1305 3919 1318
rect -3919 -1319 -3801 -1305
rect -3919 -1713 -3913 -1319
rect -3807 -1713 -3801 -1319
rect -3919 -1726 -3801 -1713
rect -3533 -1319 -3415 -1305
rect -3533 -1713 -3527 -1319
rect -3421 -1713 -3415 -1319
rect -3533 -1726 -3415 -1713
rect -3147 -1319 -3029 -1305
rect -3147 -1713 -3141 -1319
rect -3035 -1713 -3029 -1319
rect -3147 -1726 -3029 -1713
rect -2761 -1319 -2643 -1305
rect -2761 -1713 -2755 -1319
rect -2649 -1713 -2643 -1319
rect -2761 -1726 -2643 -1713
rect -2375 -1319 -2257 -1305
rect -2375 -1713 -2369 -1319
rect -2263 -1713 -2257 -1319
rect -2375 -1726 -2257 -1713
rect -1989 -1319 -1871 -1305
rect -1989 -1713 -1983 -1319
rect -1877 -1713 -1871 -1319
rect -1989 -1726 -1871 -1713
rect -1603 -1319 -1485 -1305
rect -1603 -1713 -1597 -1319
rect -1491 -1713 -1485 -1319
rect -1603 -1726 -1485 -1713
rect -1217 -1319 -1099 -1305
rect -1217 -1713 -1211 -1319
rect -1105 -1713 -1099 -1319
rect -1217 -1726 -1099 -1713
rect -831 -1319 -713 -1305
rect -831 -1713 -825 -1319
rect -719 -1713 -713 -1319
rect -831 -1726 -713 -1713
rect -445 -1319 -327 -1305
rect -445 -1713 -439 -1319
rect -333 -1713 -327 -1319
rect -445 -1726 -327 -1713
rect -59 -1319 59 -1305
rect -59 -1713 -53 -1319
rect 53 -1713 59 -1319
rect -59 -1726 59 -1713
rect 327 -1319 445 -1305
rect 327 -1713 333 -1319
rect 439 -1713 445 -1319
rect 327 -1726 445 -1713
rect 713 -1319 831 -1305
rect 713 -1713 719 -1319
rect 825 -1713 831 -1319
rect 713 -1726 831 -1713
rect 1099 -1319 1217 -1305
rect 1099 -1713 1105 -1319
rect 1211 -1713 1217 -1319
rect 1099 -1726 1217 -1713
rect 1485 -1319 1603 -1305
rect 1485 -1713 1491 -1319
rect 1597 -1713 1603 -1319
rect 1485 -1726 1603 -1713
rect 1871 -1319 1989 -1305
rect 1871 -1713 1877 -1319
rect 1983 -1713 1989 -1319
rect 1871 -1726 1989 -1713
rect 2257 -1319 2375 -1305
rect 2257 -1713 2263 -1319
rect 2369 -1713 2375 -1319
rect 2257 -1726 2375 -1713
rect 2643 -1319 2761 -1305
rect 2643 -1713 2649 -1319
rect 2755 -1713 2761 -1319
rect 2643 -1726 2761 -1713
rect 3029 -1319 3147 -1305
rect 3029 -1713 3035 -1319
rect 3141 -1713 3147 -1319
rect 3029 -1726 3147 -1713
rect 3415 -1319 3533 -1305
rect 3415 -1713 3421 -1319
rect 3527 -1713 3533 -1319
rect 3415 -1726 3533 -1713
rect 3801 -1319 3919 -1305
rect 3801 -1713 3807 -1319
rect 3913 -1713 3919 -1319
rect 3801 -1726 3919 -1713
<< properties >>
string FIXED_BBOX -4042 -1845 4042 1845
<< end >>
